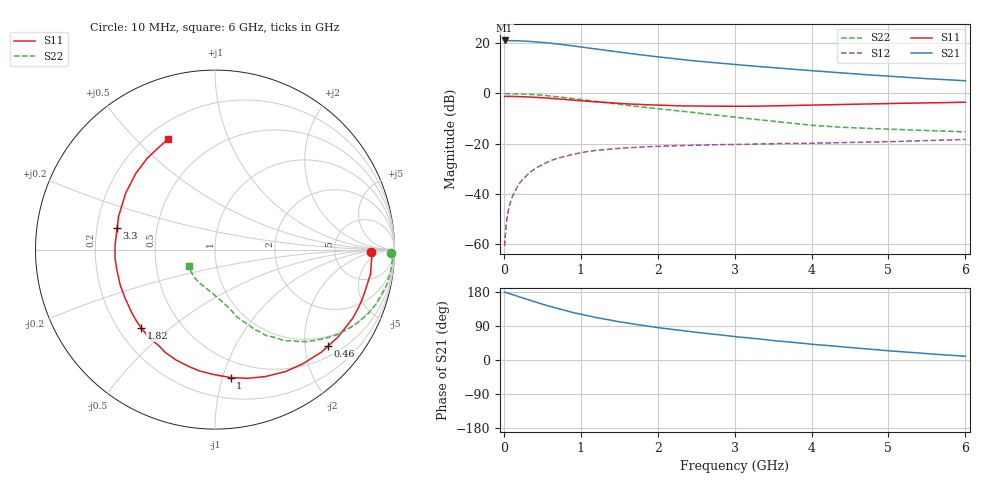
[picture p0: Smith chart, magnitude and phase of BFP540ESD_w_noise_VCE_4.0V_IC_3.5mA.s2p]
! Infineon Technologies  Discrete & RF Semiconductors
! BFP540ESD
! VCE =  4.0 V,  IC =  3.5 mA
! Common Emitter S-Parameters:  Nov 2015
# GHz  S  MA  R  50
!  f  S11  S21  S12  S22
! GHz  MAG  ANG  MAG  ANG  MAG  ANG  MAG  ANG
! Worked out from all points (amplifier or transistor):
!   210 points, 10 MHz to 6 GHz, reference 50 ohm
!   highest |S21| = 21.2 dB at 10 MHz (marker M1)
!   |S21| within 3 dB of that: start of sweep to 1.102 GHz
!   unconditionally stable (mu >= 1): 3.65 GHz to end of sweep
!   at 185 MHz: K = 0.05, MSG = 28.9 dB, |S12| = -36.7 dB
!   at 1.52 GHz: K = 0.38, MSG = 19.1 dB, |S12| = -21.9 dB
!   at 6 GHz: K = 1.28, MAG = 8.5 dB, |S12| = -18.4 dB
!   lowest NFmin = 0.64 dB at 900 MHz
!   S11 on the Smith chart (normalised r, x): 10 MHz: 14, -1; 460 MHz: 0.74, -2.53; 1 GHz: 0.36, -1.06; 1.82 GHz: 0.29, -0.40; 3.3 GHz: 0.29, +0.10; 6 GHz: 0.28, +0.63
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0.01  0.87 -0.7  11.43 179.0  0.0009 50.8  0.9819 -1.2
0.02  0.8752 -2.1  11.34 178.9  0.0015 75.5  0.9926 -1.0
0.045  0.8741 -4.1  11.32 176.9  0.0036 83.6  0.9916 -2.1
0.12  0.8736 -10.7  11.31 172.1  0.0094 82.8  0.9868 -5.7
0.3  0.8569 -26.6  11.02 160.2  0.0236 77.0  0.966 -14.0
0.46  0.8283 -40.4  10.59 149.9  0.0353 70.0  0.9318 -21.3
0.6  0.8024 -52.5  10.09 141.2  0.0451 64.4  0.8923 -27.2
0.76  0.7683 -65.0  9.481 132.6  0.0541 58.7  0.8404 -33.5
0.9  0.7394 -75.9  8.895 125.2  0.0612 54.3  0.7931 -38.4
1  0.7181 -83.0  8.479 120.8  0.0656 50.5  0.7594 -41.6
1.02  0.7128 -84.5  8.398 119.9  0.0665 49.9  0.7526 -42.2
1.2  0.6817 -97.2  7.697 112.0  0.0731 44.7  0.6949 -47.4
1.44  0.6447 -112.0  6.88 103.2  0.0792 39.4  0.6251 -53.5
1.62  0.6177 -121.9  6.319 97.1  0.0829 35.9  0.579 -56.9
1.82  0.5996 -133.1  5.799 90.8  0.086 32.5  0.5325 -60.8
2.02  0.582 -142.9  5.363 85.0  0.0885 29.7  0.4927 -64.0
2.6  0.5589 -167.8  4.299 70.8  0.0936 23.8  0.3917 -72.1
3.1  0.5557 174.0  3.675 59.9  0.0968 20.8  0.325 -77.6
3.3  0.5584 167.4  3.465 55.9  0.0984 19.6  0.3012 -80.9
4.1  0.5919 145.2  2.775 40.0  0.1025 16.1  0.2268 -99.9
5.1  0.6358 125.2  2.168 22.9  0.1105 13.8  0.1923 -126.7
6  0.6699 112.9  1.796 9.8  0.1209 12.4  0.1718 -148.0
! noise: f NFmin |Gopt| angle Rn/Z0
0.9  0.64  0.22  44  0.14
1.8  0.9  0.18  97  0.12
2.4  0.92  0.21  112  0.1
3  1.1  0.26  147  0.09
4  1.35  0.28  -137  0.14
5  1.65  0.41  -105  0.31
6  1.85  0.54  -104  0.47
